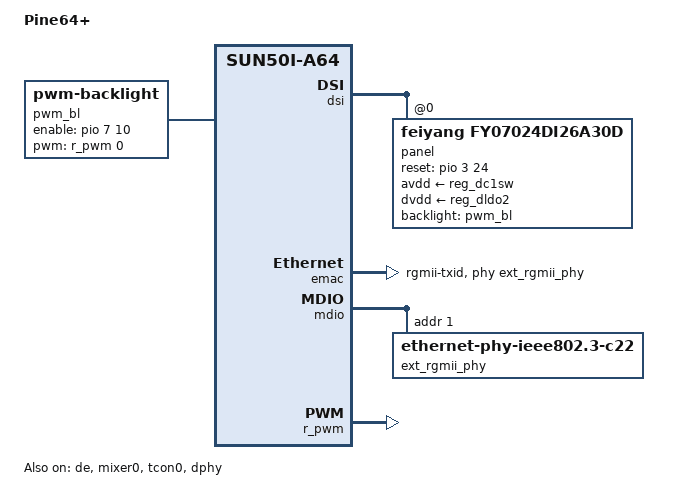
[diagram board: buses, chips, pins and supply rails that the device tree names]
/*
 * Copyright (c) 2016 ARM Ltd.
 *
 * This file is dual-licensed: you can use it either under the terms
 * of the GPL or the X11 license, at your option. Note that this dual
 * licensing only applies to this file, and not this project as a
 * whole.
 *
 *  a) This library is free software; you can redistribute it and/or
 *     modify it under the terms of the GNU General Public License as
 *     published by the Free Software Foundation; either version 2 of the
 *     License, or (at your option) any later version.
 *
 *     This library is distributed in the hope that it will be useful,
 *     but WITHOUT ANY WARRANTY; without even the implied warranty of
 *     MERCHANTABILITY or FITNESS FOR A PARTICULAR PURPOSE.  See the
 *     GNU General Public License for more details.
 *
 * Or, alternatively,
 *
 *  b) Permission is hereby granted, free of charge, to any person
 *     obtaining a copy of this software and associated documentation
 *     files (the "Software"), to deal in the Software without
 *     restriction, including without limitation the rights to use,
 *     copy, modify, merge, publish, distribute, sublicense, and/or
 *     sell copies of the Software, and to permit persons to whom the
 *     Software is furnished to do so, subject to the following
 *     conditions:
 *
 *     The above copyright notice and this permission notice shall be
 *     included in all copies or substantial portions of the Software.
 *
 *     THE SOFTWARE IS PROVIDED "AS IS", WITHOUT WARRANTY OF ANY KIND,
 *     EXPRESS OR IMPLIED, INCLUDING BUT NOT LIMITED TO THE WARRANTIES
 *     OF MERCHANTABILITY, FITNESS FOR A PARTICULAR PURPOSE AND
 *     NONINFRINGEMENT. IN NO EVENT SHALL THE AUTHORS OR COPYRIGHT
 *     HOLDERS BE LIABLE FOR ANY CLAIM, DAMAGES OR OTHER LIABILITY,
 *     WHETHER IN AN ACTION OF CONTRACT, TORT OR OTHERWISE, ARISING
 *     FROM, OUT OF OR IN CONNECTION WITH THE SOFTWARE OR THE USE OR
 *     OTHER DEALINGS IN THE SOFTWARE.
 */

#include "sun50i-a64-pine64.dts"
#include <dt-bindings/pwm/pwm.h>

/ {
	model = "Pine64+";
	compatible = "pine64,pine64-plus", "allwinner,sun50i-a64";

	pwm_bl: backlight {
		compatible = "pwm-backlight";
		pwms = <&r_pwm 0 50000 PWM_POLARITY_INVERTED>;
		brightness-levels = <1 2 4 8 16 32 64 128 255>;
		default-brightness-level = <8>;
		enable-gpios = <&pio 7 10 GPIO_ACTIVE_HIGH>; /* PH10 */
	};


	/* TODO: Camera, touchscreen, etc. */
};

&de {
	status = "okay";
};

&mixer0 {
	status = "okay";
};

&tcon0 {
	status = "okay";
};

&dphy {
	status = "okay";
};

&dsi {
	status = "okay";

	panel@0 {
		compatible = "feiyang,fy07024di26a30d", "simple-panel";
		reg = <0>;
		reset-gpios = <&pio 3 24 GPIO_ACTIVE_HIGH>; /* PD24 */
		backlight = <&pwm_bl>;
		avdd-supply = <&reg_dc1sw>;
		dvdd-supply = <&reg_dldo2>;
	};
};

&emac {
	pinctrl-names = "default";
	pinctrl-0 = <&rgmii_pins>;
	phy-mode = "rgmii-txid";
	phy-handle = <&ext_rgmii_phy>;
	status = "okay";
};

&mdio {
	ext_rgmii_phy: ethernet-phy@1 {
		compatible = "ethernet-phy-ieee802.3-c22";
		reg = <1>;
	};
};

&r_pwm {
	pinctrl-names = "default";
	pinctrl-0 = <&r_pwm_pin>;
	status = "okay";
};
